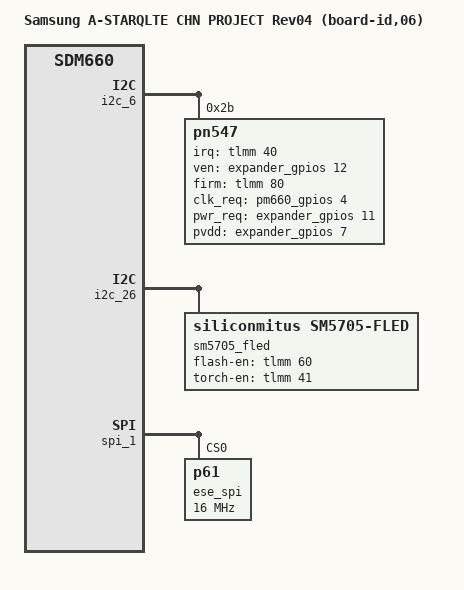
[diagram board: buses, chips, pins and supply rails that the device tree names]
/*
 * Copyright (c) 2017, The Linux Foundation. All rights reserved.
 *
 * This program is free software; you can redistribute it and/or modify
 * it under the terms of the GNU General Public License version 2 and
 * only version 2 as published by the Free Software Foundation.
 *
 * This program is distributed in the hope that it will be useful,
 * but WITHOUT ANY WARRANTY; without even the implied warranty of
 * MERCHANTABILITY or FITNESS FOR A PARTICULAR PURPOSE.  See the
 * GNU General Public License for more details.
 */


/dts-v1/;

#define SDM660_A_STARQLTE_REV06

#include "../qcom/sdm660.dtsi"
#include "../qcom/sdm660-mtp.dtsi"
#include "../qcom/msm-pm660a.dtsi"

#include "sdm660-sec-common.dtsi"
#include "sdm660-sec-astarqlte-audio.dtsi"
#include "sdm660-sec-astarqlte-chn-r06.dtsi"
#include "sdm660-sec-astarqlte-chn-pinctrl-r06.dtsi"
#include "sdm660-sec-astarqlte-display-r00.dtsi"
#include "sdm660-sec-astarqlte-battery-common.dtsi"
#include "sdm660-sec-astarqlte-muic-common.dtsi"
#include "sdm660-sec-astarqlte-chn-fingerprint-sensor_00.dtsi"
#include "sdm660-camera-sensor-astarqlte_chn-r04.dtsi"
#include "../../../../drivers/leds/tuning/astarqlte_led_tuning-r03.dtsi"

/ {
	model = "Samsung A-STARQLTE CHN PROJECT Rev04 (board-id,06)";
	compatible = "qcom,sdm660-mtp", "qcom,sdm660", "qcom,mtp";
	qcom,board-id = <8 6>;
};

&soc {
	i2c_6: i2c@c1b6000 { /* BLSP2 QUP2 */
		status = "okay";

		pn547@2B {
			compatible = "pn547";
			reg = <0x2B>;
			interrupt-parent = <&tlmm>;
			interrupts = <40 0>;
			pn547,irq-gpio = <&tlmm 40 0>;
			pn547,ven-gpio = <&expander_gpios 12 0>;
			pn547,firm-gpio = <&tlmm 80 0>;
			pn547,clk_req-gpio = <&pm660_gpios 4 0x00>;
			pn547,pwr_req =  <&expander_gpios 11 0>;
			pn547,pvdd-gpio = <&expander_gpios 7 0>;
			pn547,nfc_pm_clk;
			qcom,clk-src = "BBCLK3";
			clocks = <&clock_rpmcc RPM_LN_BB_CLK3_PIN>;
			clock-names = "rf_clk";
		};
	};

	i2c_26: i2c@26 {
		sm5705_fled {
			compatible = "siliconmitus,sm5705-fled";
			enable = <1 1>;
			id= <0>;
			status = "okay";
			flash-mode-current-mA = <1500>;
			torch-mode-current-mA = <220>;
			preflash-mode-current-mA = <220>;
			used-gpio-control = <1>;
			flash-en-gpio = <&tlmm 60 0x00>;
			torch-en-gpio = <&tlmm 41 0x00>;
		};
	};

	spi_1: spi@c175000 { /* BLSP1 QUP1 */
		status = "okay";
		spi-max-frequency = <19200000>;

		ese_spi@0 {
			compatible = "p61";
			reg = <0>;
			spi-max-frequency = <16000000>;
			p61-ap_vendor = "qualcomm";
			clock-names = "pclk", "sclk";
			clocks = <&clock_gcc GCC_BLSP1_AHB_CLK>,
				<&clock_gcc GCC_BLSP1_QUP1_SPI_APPS_CLK>;
		};
	};
};
